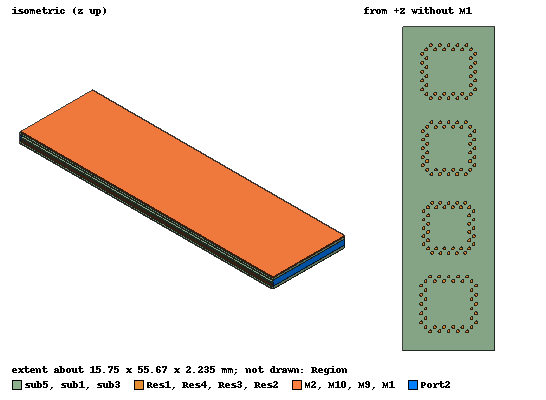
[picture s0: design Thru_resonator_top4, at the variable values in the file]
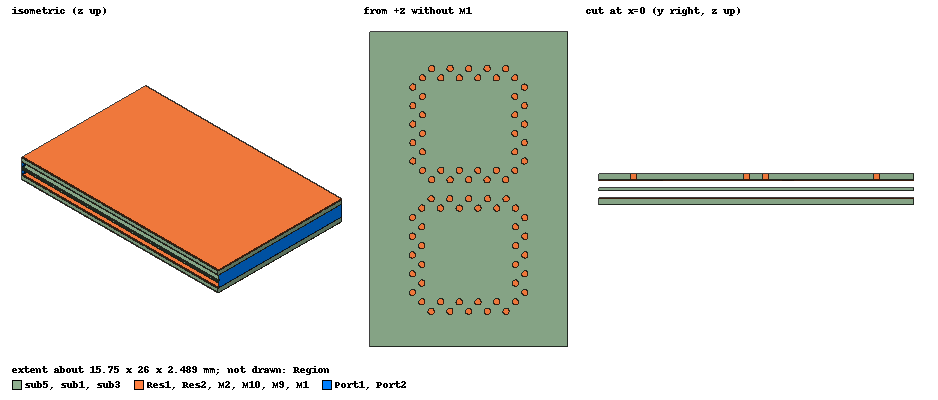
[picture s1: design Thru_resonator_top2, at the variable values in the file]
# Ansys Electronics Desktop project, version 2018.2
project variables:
  $mask = 0.8mil
  $sub5 = 20mil
  $gap = 0mm
  $sub1 = 20mil
  $sub3 = 10mil
  $width = $a*2 + $l + 2mm
  $a = 6mm
  $l = $stripline_w
  $stripline_w = 1.75mm
  $length = (95-0.6) mm
  $GCPW_w = 2.15mm
  $GCPW_l = 4.7mm
  $cavity_length = 80mm
  $cavity_width = 30mm
  $sub4 = 20mil
  $sub2 = 20mil
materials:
  Rogers RO3010 (tm): permittivity=10.2 dielectric_loss_tangent=0.0035
  Rogers RT/duroid 6002 (tm): permittivity=2.94 dielectric_loss_tangent=0.0012
  air: permittivity=1.0006 permeability=1.0000004
  copper: permeability=0.999991 conductivity=58000000
  vacuum: permittivity=1

design Thru_resonator_top4 (HFSS, DrivenModal, model units mm)
options: Calculate_Lossy_Dielectrics
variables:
  layer3_height = 4*$mask + $sub5 + sub4 + $gap*2
  length = (2.5 - 1 - .633) mm
  gap = 0.889mm
  w_2 = 0.61mm
  layer1_height = 8*$mask + $sub5 + sub4 + $sub3 + sub2 + $gap*4
  layer2_height = 6*$mask + $sub5 + sub4 + $sub3 + $gap*3
  layer4_height = 2*$mask + $sub5 + $gap
  height = $mask*10 + $sub1 + sub2 + $sub3 + sub4 + $sub5
  radius = 0.25mm
  via = 0.5mm
  radius_s = 0.1mm
  height_s = $mask*6 + $sub1 + sub2 + $sub3
  port_width = 14.6mm
  port_height = 6mm
  gap1 = 55mm
  wid = 6.875mm + via_r/2
  via_r = 0.25mm
  aper = 1mm
  sub1 = 20mil
  sub2 = 20mil
  sub4 = 10mil
  wid1 = 7.8mm  # optimise 3.795mm..11.385mm
  wid2 = 7mm
  spacing = 6.375mm
  wid3 = 7.275mm
  wid4 = 7.52mm  # optimise 3.705mm..11.115mm
  spacing2 = 5.52mm
  spacing3 = 5.6mm
  a = 4.6mm
  g = 0.2mm
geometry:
  sub3 [Rogers RT/duroid 6002 (tm)] = box(corner=(-$width/2, -$length/2, 5*$mask + $sub5 + sub4 + $gap*2), size=($width, $length, $sub3))
  Rectangle5 = rectangle(corner=(-$GCPW_w/2, -$length/2, layer3_height + $mask + $sub3), x_size=$GCPW_w, y_size=$GCPW_l - gap)
  Thru [copper] = Rectangle5.duplicate_around_axis(axis=Z, angle=180deg, total=2)
  Thru.thicken($mask)
  Polyline1 = polyline(z=layer3_height + $mask + $sub3, xy: ($GCPW_w/2, $length/2 - $GCPW_l + gap) (0.305mm, $length/2 - $GCPW_l -1 mm) (-0.305mm, $length/2 - $GCPW_l -1 mm) (-$GCPW_w/2, $length/2 - $GCPW_l + gap) ($GCPW_w/2, $length/2 - $GCPW_l + gap), closed, covered)
  Polyline1.thicken(-$mask)
  Rectangle8 = rectangle(corner=(-w_2/2, -$length/2 + $GCPW_l +1 mm, layer3_height+$mask+$sub3), x_size=w_2, y_size=length)
  Rectangle8_1 = Rectangle8.duplicate_around_axis(axis=Z, angle=180deg, total=2)
  Rectangle8_1.thicken($mask)
  Polyline2 = polyline(z=layer3_height + $mask + $sub3, xy: (0.305mm, $length/2 - $GCPW_l -1 mm - length) ($stripline_w/2, $cavity_length/2 - gap) (-$stripline_w/2, $cavity_length/2 - gap) (-0.305mm, $length/2 - $GCPW_l -1 mm - length) (0.305mm, $length/2 - $GCPW_l -1 mm - length), closed, covered)
  Polyline2.thicken(-$mask)
  Rectangle6 = rectangle(corner=(-$stripline_w/2, -$cavity_length/2 + gap, layer3_height + $mask + $sub3), x_size=$stripline_w, y_size=$cavity_length - 2*gap)
  Rectangle6.thicken($mask)
  Polyline3 = polyline(z=layer3_height + $mask + $sub3, xy: ($stripline_w/2, -$cavity_length/2 + gap) (0.305mm, -$length/2 + $GCPW_l +1 mm + length) (-0.305mm, -$length/2 + $GCPW_l +1 mm + length) (-$stripline_w/2, -$cavity_length/2 + gap) ($stripline_w/2, -$cavity_length/2 + gap), closed, covered)
  Polyline3.thicken(-$mask)
  Rectangle8.thicken($mask)
  Polyline4 = polyline(z=layer3_height + $mask + $sub3, xy: ($GCPW_w/2, -$length/2 + $GCPW_l - gap) (0.305mm, -$length/2 + $GCPW_l +1 mm) (-0.305mm, -$length/2 + $GCPW_l +1 mm) (-$GCPW_w/2, -$length/2 + $GCPW_l - gap) ($GCPW_w/2, -$length/2 + $GCPW_l - gap), closed, covered)
  [Polyline4, Rectangle5].thicken($mask)
  Thru.unite(Polyline1, Rectangle8_1, Polyline2, Rectangle6, Polyline3, Rectangle8, Polyline4, Rectangle5)
  M1 [copper] = box(corner=(-$width/2, -$length/2, 9*$mask + $sub5 + sub4 + $sub3 + sub2 + sub1 + $gap*4), size=($width, $length, $mask))
  sub1 [Rogers RO3010 (tm)] = box(corner=(-$width/2, -$length/2, 9*$mask + $sub5 + sub4 + $sub3 + sub2 + $gap*4), size=($width, $length, sub1))
  M2 [copper] = box(corner=(-$width/2, -$length/2, layer1_height), size=($width, $length, $mask))
  M9 [copper] = box(corner=(-$width/2, -$length/2, $mask + $sub5), size=($width, $length, $mask))
  sub5 [Rogers RT/duroid 6002 (tm)] = box(corner=(-$width/2, -$length/2, $mask), size=($width, $length, $sub5))
  M10 [copper] = box(corner=(-$width/2, -$length/2, 0mm), size=($width, $length, $mask))
  Cut1 = box(corner=(-$width/2, -gap1/2, 0mm), size=($width, -60mm, 6mm))
  Cut2 = Cut1.duplicate_around_axis(axis=Z, angle=180deg, total=2)
  Cut3 = box(corner=(-$cavity_width/2, -gap1/2, 0mm), size=(-10mm, gap1, 6mm))
  Cut4 = Cut3.duplicate_around_axis(axis=Z, angle=180deg, total=2)
  Cut1_1 = Cut1.copy()
  Cut2_1 = Cut2.copy()
  Cut3_1 = Cut3.copy()
  Cut4_1 = Cut4.copy()
  [Cut1..Cut4].delete()
  Port1 = rectangle(corner=(-$width/2, -gap1/2, $mask*2 + $sub5), z_size=sub2 + $sub3 + sub4 + $mask*6, x_size=$width)
  Port2 = Port1.duplicate_around_axis(axis=Z, angle=180deg, total=2)
  Region [air] = region(percentage_offset=0 on all sides)
  Cut1_1_1 = Cut1_1.copy()
  Cut2_1_1 = Cut2_1.copy()
  Cut3_1_1 = Cut3_1.copy()
  Cut4_1_1 = Cut4_1.copy()
  M1.subtract(Cut1_1_1, Cut2_1_1, Cut3_1_1, Cut4_1_1)
  Cut1_1_2 = Cut1_1.copy()
  Cut2_1_2 = Cut2_1.copy()
  Cut3_1_2 = Cut3_1.copy()
  Cut4_1_2 = Cut4_1.copy()
  M10.subtract(Cut1_1_2, Cut2_1_2, Cut3_1_2, Cut4_1_2)
  Cut1_1_3 = Cut1_1.copy()
  Cut2_1_3 = Cut2_1.copy()
  Cut3_1_3 = Cut3_1.copy()
  Cut4_1_3 = Cut4_1.copy()
  M2.subtract(Cut1_1_3, Cut2_1_3, Cut3_1_3, Cut4_1_3)
  Cut1_1_4 = Cut1_1.copy()
  Cut2_1_4 = Cut2_1.copy()
  Cut3_1_4 = Cut3_1.copy()
  Cut4_1_4 = Cut4_1.copy()
  M9.subtract(Cut1_1_4, Cut2_1_4, Cut3_1_4, Cut4_1_4)
  Cut1_1_5 = Cut1_1.copy()
  Cut2_1_5 = Cut2_1.copy()
  Cut3_1_5 = Cut3_1.copy()
  Cut4_1_5 = Cut4_1.copy()
  sub1.subtract(Cut1_1_5, Cut2_1_5, Cut3_1_5, Cut4_1_5)
  Cut1_1_6 = Cut1_1.copy()
  Cut2_1_6 = Cut2_1.copy()
  Cut3_1_6 = Cut3_1.copy()
  Cut4_1_6 = Cut4_1.copy()
  sub3.subtract(Cut1_1_6, Cut2_1_6, Cut3_1_6, Cut4_1_6)
  Cut1_1_7 = Cut1_1.copy()
  Cut2_1_7 = Cut2_1.copy()
  Cut3_1_7 = Cut3_1.copy()
  Cut4_1_7 = Cut4_1.copy()
  sub5.subtract(Cut1_1_7, Cut2_1_7, Cut3_1_7, Cut4_1_7)
  Cut1_1_8 = Cut1_1.copy()
  Cut1_1.delete()
  Cut2_1_8 = Cut2_1.copy()
  Cut2_1.delete()
  Cut3_1_8 = Cut3_1.copy()
  Cut3_1.delete()
  Cut4_1_8 = Cut4_1.copy()
  Cut4_1.delete()
  Thru.subtract(Cut1_1_8, Cut2_1_8, Cut3_1_8, Cut4_1_8)
  Res1 [copper] = cylinder(axis=Z, base_centre=(-wid1/2, -wid1 -wid2 -spacing/2 - spacing2, layer1_height + $mask), radius=via_r, height=$sub1)
  Cylinder1_1..Cylinder1_5 = Res1.duplicate_along_line(step=(0mm, wid1/5, 0mm), total=6)
  Cylinder1_6..Cylinder1_10 = Res1.duplicate_along_line(step=(wid1/5, 0mm, 0mm), total=6)
  Cylinder1_10_1..Cylinder1_10_5 = Cylinder1_10.duplicate_along_line(step=(0mm, wid1/5, 0mm), total=6)
  Cylinder1_5_1..Cylinder1_5_4 = Cylinder1_5.duplicate_along_line(step=(wid1/5, 0mm, 0mm), total=5)
  Cylinder1_11 = Res1.duplicate_along_line(step=(-3*via_r, wid1/10, 0mm), total=2)
  Cylinder1_12 = Res1.duplicate_along_line(step=(wid1/10, -3*via_r, 0mm), total=2)
  Cylinder1_10_5_1 = Cylinder1_10_5.duplicate_along_line(step=(-wid1/10, 3*via_r, 0mm), total=2)
  Cylinder1_10_5_2 = Cylinder1_10_5.duplicate_along_line(step=(3*via_r, - wid1/10, 0mm), total=2)
  Cylinder1_11_1..Cylinder1_11_4 = Cylinder1_11.duplicate_along_line(step=(0mm, wid1/5, 0mm), total=5)
  Cylinder1_12_1..Cylinder1_12_4 = Cylinder1_12.duplicate_along_line(step=(wid1/5, 0mm, 0mm), total=5)
  Cylinder1_10_5_2_1..Cylinder1_10_5_2_4 = Cylinder1_10_5_2.duplicate_along_line(step=(0mm, -wid1/5, 0mm), total=5)
  Cylinder1_10_5_1_1..Cylinder1_10_5_1_4 = Cylinder1_10_5_1.duplicate_along_line(step=(-wid1/5, 0mm, 0mm), total=5)
  Res2 [copper] = cylinder(axis=Z, base_centre=(-wid2/2, -wid2 - spacing/2, layer1_height + $mask), radius=via_r, height=$sub1)
  Cylinder2_1..Cylinder2_5 = Res2.duplicate_along_line(step=(0mm, wid2/5, 0mm), total=6)
  Cylinder2_6..Cylinder2_10 = Res2.duplicate_along_line(step=(wid2/5, 0mm, 0mm), total=6)
  Cylinder2_10_1..Cylinder2_10_5 = Cylinder2_10.duplicate_along_line(step=(0mm, wid2/5, 0mm), total=6)
  Cylinder2_5_1..Cylinder2_5_4 = Cylinder2_5.duplicate_along_line(step=(wid2/5, 0mm, 0mm), total=5)
  Cylinder2_11 = Res2.duplicate_along_line(step=(-3*via_r, wid2/10, 0mm), total=2)
  Cylinder2_12 = Res2.duplicate_along_line(step=(wid2/10, -3*via_r, 0mm), total=2)
  Res1.unite(Cylinder1_1..Cylinder1_5, Cylinder1_5_1..Cylinder1_5_4, Cylinder1_6..Cylinder1_10, Cylinder1_10_1..Cylinder1_10_5, Cylinder1_10_5_1, Cylinder1_10_5_1_1..Cylinder1_10_5_1_4, Cylinder1_10_5_2, Cylinder1_10_5_2_1..Cylinder1_10_5_2_4, Cylinder1_11, Cylinder1_11_1..Cylinder1_11_4, Cylinder1_12, Cylinder1_12_1..Cylinder1_12_4)
  Cylinder2_10_5_1 = Cylinder2_10_5.duplicate_along_line(step=(-wid2/10, 3*via_r, 0mm), total=2)
  Cylinder2_10_5_2 = Cylinder2_10_5.duplicate_along_line(step=(3*via_r, -wid2/10, 0mm), total=2)
  Cylinder2_11_1..Cylinder2_11_4 = Cylinder2_11.duplicate_along_line(step=(0mm, wid2/5, 0mm), total=5)
  Cylinder2_12_1..Cylinder2_12_4 = Cylinder2_12.duplicate_along_line(step=(wid2/5, 0mm, 0mm), total=5)
  Cylinder2_10_5_1_1..Cylinder2_10_5_1_4 = Cylinder2_10_5_1.duplicate_along_line(step=(-wid2/5, 0mm, 0mm), total=5)
  Cylinder2_10_5_2_1..Cylinder2_10_5_2_4 = Cylinder2_10_5_2.duplicate_along_line(step=(0mm, -wid2/5, 0mm), total=5)
  Res2.unite(Cylinder2_1..Cylinder2_5, Cylinder2_5_1..Cylinder2_5_4, Cylinder2_6..Cylinder2_10, Cylinder2_10_1..Cylinder2_10_5, Cylinder2_10_5_1, Cylinder2_10_5_1_1..Cylinder2_10_5_1_4, Cylinder2_10_5_2, Cylinder2_10_5_2_1..Cylinder2_10_5_2_4, Cylinder2_11, Cylinder2_11_1..Cylinder2_11_4, Cylinder2_12, Cylinder2_12_1..Cylinder2_12_4)
  Res3 [copper] = cylinder(axis=Z, base_centre=(-wid3/2, wid3 + spacing/2, layer1_height + $mask), radius=via_r, height=$sub1)
  Cylinder1_13..Cylinder1_17 = Res3.duplicate_along_line(step=(0mm, -wid3/5, 0mm), total=6)
  Cylinder1_18..Cylinder1_22 = Res3.duplicate_along_line(step=(wid3/5, 0mm, 0mm), total=6)
  Cylinder1_22_1..Cylinder1_22_5 = Cylinder1_22.duplicate_along_line(step=(0mm, -wid3/5, 0mm), total=6)
  Cylinder1_17_1..Cylinder1_17_4 = Cylinder1_17.duplicate_along_line(step=(wid3/5, 0mm, 0mm), total=5)
  Cylinder1_17_5 = Cylinder1_17.duplicate_along_line(step=(-3*via_r, wid3/10, 0mm), total=2)
  Cylinder1_17_6 = Cylinder1_17.duplicate_along_line(step=(wid3/10, -3*via_r, 0mm), total=2)
  Cylinder1_22_6 = Cylinder1_22.duplicate_along_line(step=(-wid3/10, 3*via_r, 0mm), total=2)
  Cylinder1_22_7 = Cylinder1_22.duplicate_along_line(step=(3*via_r, -wid3/10, 0mm), total=2)
  Cylinder1_17_5_1..Cylinder1_17_5_4 = Cylinder1_17_5.duplicate_along_line(step=(0mm, wid3/5, 0mm), total=5)
  Cylinder1_17_6_1..Cylinder1_17_6_4 = Cylinder1_17_6.duplicate_along_line(step=(wid3/5, 0mm, 0mm), total=5)
  Cylinder1_22_7_1..Cylinder1_22_7_4 = Cylinder1_22_7.duplicate_along_line(step=(0mm, -wid3/5, 0mm), total=5)
  Cylinder1_22_6_1..Cylinder1_22_6_4 = Cylinder1_22_6.duplicate_along_line(step=(-wid3/5, 0mm, 0mm), total=5)
  Res3.unite(Cylinder1_13..Cylinder1_17, Cylinder1_17_1..Cylinder1_17_5, Cylinder1_17_5_1..Cylinder1_17_5_4, Cylinder1_17_6, Cylinder1_17_6_1..Cylinder1_17_6_4, Cylinder1_18..Cylinder1_22, Cylinder1_22_1..Cylinder1_22_6, Cylinder1_22_6_1..Cylinder1_22_6_4, Cylinder1_22_7, Cylinder1_22_7_1..Cylinder1_22_7_4)
  Res4 [copper] = cylinder(axis=Z, base_centre=(-wid4/2, wid4 + wid3 + spacing/2 + spacing3, layer1_height + $mask), radius=via_r, height=$sub1)
  Cylinder1_23..Cylinder1_27 = Res4.duplicate_along_line(step=(0mm, -wid4/5, 0mm), total=6)
  Cylinder1_28..Cylinder1_32 = Res4.duplicate_along_line(step=(wid4/5, 0mm, 0mm), total=6)
  Cylinder1_27_1..Cylinder1_27_5 = Cylinder1_27.duplicate_along_line(step=(wid4/5, 0mm, 0mm), total=6)
  Cylinder1_27_5_1..Cylinder1_27_5_4 = Cylinder1_27_5.duplicate_along_line(step=(0mm, wid4/5, 0mm), total=5)
  Cylinder1_27_6 = Cylinder1_27.duplicate_along_line(step=(-3*via_r, wid4/10, 0mm), total=2)
  Cylinder1_27_7 = Cylinder1_27.duplicate_along_line(step=(wid4/10, -3*via_r, 0mm), total=2)
  Cylinder1_32_1 = Cylinder1_32.duplicate_along_line(step=(-wid4/10, 3*via_r, 0mm), total=2)
  Cylinder1_32_2 = Cylinder1_32.duplicate_along_line(step=(3*via_r, -wid4/10, 0mm), total=2)
  Cylinder1_27_6_1..Cylinder1_27_6_4 = Cylinder1_27_6.duplicate_along_line(step=(0mm, wid4/5, 0mm), total=5)
  Cylinder1_27_7_1..Cylinder1_27_7_4 = Cylinder1_27_7.duplicate_along_line(step=(wid4/5, 0mm, 0mm), total=5)
  Cylinder1_32_2_1..Cylinder1_32_2_4 = Cylinder1_32_2.duplicate_along_line(step=(0mm, -wid4/5, 0mm), total=5)
  Cylinder1_32_1_1..Cylinder1_32_1_4 = Cylinder1_32_1.duplicate_along_line(step=(-wid4/5, 0mm, 0mm), total=5)
  Res4.unite(Cylinder1_23..Cylinder1_27, Cylinder1_27_1..Cylinder1_27_5, Cylinder1_27_5_1..Cylinder1_27_5_4, Cylinder1_27_6, Cylinder1_27_6_1..Cylinder1_27_6_4, Cylinder1_27_7, Cylinder1_27_7_1..Cylinder1_27_7_4, Cylinder1_28..Cylinder1_32, Cylinder1_32_1, Cylinder1_32_1_1..Cylinder1_32_1_4, Cylinder1_32_2, Cylinder1_32_2_1..Cylinder1_32_2_4)
  Box1 = box(corner=(-(wid1-3*via_r)/2, -spacing/2 - spacing2 - wid2 -wid1 + 2*via_r, layer1_height), size=(wid1 - 3*via_r, aper, $mask))
  Box2 = box(corner=(-(wid2 - 3*via_r)/2, -spacing/2 -wid2 + 2*via_r, layer1_height), size=(wid2 - 3*via_r, aper, $mask))
  Box3 = box(corner=(-(wid3 - 3*via_r)/2, spacing/2 + wid3 - 2*via_r, layer1_height), size=(wid3 - 3*via_r, -aper, $mask))
  Box4 = box(corner=(-(wid4 - 3*via_r)/2, spacing/2 + spacing3+ wid3 + wid4 -  2*via_r, layer1_height), size=(wid4 -3*via_r, -aper, $mask))
  Box1_1 = Box1.copy()
  Box1.delete()
  Box2_1 = Box2.copy()
  Box2.delete()
  Box3_1 = Box3.copy()
  Box3.delete()
  Box4_1 = Box4.copy()
  Box4.delete()
  M2.subtract(Box1_1, Box2_1, Box3_1, Box4_1)
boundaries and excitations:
  1: Wave Port Objects=Port1 NumModes=1 Modes{Mode1{CharImp=Zpi}}
  2: Wave Port Objects=Port2 NumModes=1 Modes{Mode1{CharImp=Zpi}}
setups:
  Setup1: HfssDriven Frequency=9GHz MaxDeltaS=0.01 MaximumPasses=50 MinimumPasses=1 MinimumConvergedPasses=3 PercentRefinement=30 BasisOrder=1 PortAccuracy=2
    sweep Sweep: 7GHz to 9GHz step 0.0005GHz; Type=Interpolating InterpTolerance=0.5 InterpMaxSolns=250 InterpUsePortImped=false PassivityErrorTolerance=0.0001
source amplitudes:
  1:1: 1W 0deg
  2:1: 0W 0deg
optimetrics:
  OptimizationSetup1: Optimization Optimizer="Quasi Newton" AnalysisStopOptions{StopForNumIteration MaxNumIteration=1000 MinNumIteration=10} CostFuncNormType=L2 Acceptable_Cost=0 Noise=0.0001 UpdateDesignWhenDone
    vary wid1: Min=6.7mm Max=8.1mm MinStep=0.0759mm MaxStep=0.759mm MinFocus=3.795mm MaxFocus=11.385mm start=7.59mm
    vary wid2: Min=6.7mm Max=8.1mm MinStep=0.0727mm MaxStep=0.727mm MinFocus=3.635mm MaxFocus=10.905mm
    vary wid3: Min=6.7mm Max=8.1mm MinStep=0.0721mm MaxStep=0.721mm MinFocus=3.605mm MaxFocus=10.815mm
    vary wid4: Min=6.7mm Max=8.1mm MinStep=0.0741mm MaxStep=0.741mm MinFocus=3.705mm MaxFocus=11.115mm start=7.41mm
    goal dB(S(2,1)) <= -10 weight 1 on Setup1 : Sweep at Freq 7.8GHz to 8.2GHz
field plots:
  Mag_E1: E Field in sub1 on Setup1 : LastAdaptive at Freq=9GHz Phase=0deg
  Mag_E2: E Field over sub1.face(+z) on Setup1 : LastAdaptive at Freq=9GHz Phase=0deg
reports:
  S Parameter Plot 1: dB(S(1,1)), dB(S(2,1)) vs Freq on Setup1 : Sweep; markers m1 at 7.956GHz, m2 at 8.1255GHz, m3 at 7.7965GHz, m4 at 8.18GHz

design Thru_resonator_top2 (HFSS, DrivenModal, model units mm)
options: Calculate_Lossy_Dielectrics
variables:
  layer3_height = 4*$mask + $sub5 + $sub4 + $gap*2
  length = (2.5 - 1 - .633) mm
  gap = 0.889mm
  w_2 = 0.61mm
  layer1_height = 8*$mask + $sub5 + $sub4 + $sub3 + $sub2 + $gap*4
  layer2_height = 6*$mask + $sub5 + $sub4 + $sub3 + $gap*3
  layer4_height = 2*$mask + $sub5 + $gap
  height = $mask*10 + $sub1 + $sub2 + $sub3 + $sub4 + $sub5
  radius = 0.25mm
  via = 0.5mm
  radius_s = 0.1mm
  height_s = $mask*6 + $sub1 + $sub2 + $sub3
  port_width = 14.6mm
  port_height = 6mm
  gap1 = 25mm
  via_r = 0.25mm
  wid1 = 7.3mm+via_r/2
  spacing = 3mm
  wid2 = 7.2mm+via_r/2
  aper1 = 1mm
  aper2 = 1mm
  a = 4.6mm
  g = 0.2mm
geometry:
  sub3 [Rogers RT/duroid 6002 (tm)] = box(corner=(-$width/2, -$length/2, 5*$mask + $sub5 + $sub4 + $gap*2), size=($width, $length, $sub3))
  Rectangle5 = rectangle(corner=(-$GCPW_w/2, -$length/2, layer3_height + $mask + $sub3), x_size=$GCPW_w, y_size=$GCPW_l - gap)
  Thru [copper] = Rectangle5.duplicate_around_axis(axis=Z, angle=180deg, total=2)
  Thru.thicken($mask)
  Polyline1 = polyline(z=layer3_height + $mask + $sub3, xy: ($GCPW_w/2, $length/2 - $GCPW_l + gap) (0.305mm, $length/2 - $GCPW_l -1 mm) (-0.305mm, $length/2 - $GCPW_l -1 mm) (-$GCPW_w/2, $length/2 - $GCPW_l + gap) ($GCPW_w/2, $length/2 - $GCPW_l + gap), closed, covered)
  Polyline1.thicken(-$mask)
  Rectangle8 = rectangle(corner=(-w_2/2, -$length/2 + $GCPW_l +1 mm, layer3_height+$mask+$sub3), x_size=w_2, y_size=length)
  Rectangle8_1 = Rectangle8.duplicate_around_axis(axis=Z, angle=180deg, total=2)
  Rectangle8_1.thicken($mask)
  Polyline2 = polyline(z=layer3_height + $mask + $sub3, xy: (0.305mm, $length/2 - $GCPW_l -1 mm - length) ($stripline_w/2, $cavity_length/2 - gap) (-$stripline_w/2, $cavity_length/2 - gap) (-0.305mm, $length/2 - $GCPW_l -1 mm - length) (0.305mm, $length/2 - $GCPW_l -1 mm - length), closed, covered)
  Polyline2.thicken(-$mask)
  Rectangle6 = rectangle(corner=(-$stripline_w/2, -$cavity_length/2 + gap, layer3_height + $mask + $sub3), x_size=$stripline_w, y_size=$cavity_length - 2*gap)
  Rectangle6.thicken($mask)
  Polyline3 = polyline(z=layer3_height + $mask + $sub3, xy: ($stripline_w/2, -$cavity_length/2 + gap) (0.305mm, -$length/2 + $GCPW_l +1 mm + length) (-0.305mm, -$length/2 + $GCPW_l +1 mm + length) (-$stripline_w/2, -$cavity_length/2 + gap) ($stripline_w/2, -$cavity_length/2 + gap), closed, covered)
  Polyline3.thicken(-$mask)
  Rectangle8.thicken($mask)
  Polyline4 = polyline(z=layer3_height + $mask + $sub3, xy: ($GCPW_w/2, -$length/2 + $GCPW_l - gap) (0.305mm, -$length/2 + $GCPW_l +1 mm) (-0.305mm, -$length/2 + $GCPW_l +1 mm) (-$GCPW_w/2, -$length/2 + $GCPW_l - gap) ($GCPW_w/2, -$length/2 + $GCPW_l - gap), closed, covered)
  [Polyline4, Rectangle5].thicken($mask)
  Thru.unite(Polyline1, Rectangle8_1, Polyline2, Rectangle6, Polyline3, Rectangle8, Polyline4, Rectangle5)
  M1 [copper] = box(corner=(-$width/2, -$length/2, 9*$mask + $sub5 + $sub4 + $sub3 + $sub2 + $sub1 + $gap*4), size=($width, $length, $mask))
  sub1 [Rogers RO3010 (tm)] = box(corner=(-$width/2, -$length/2, 9*$mask + $sub5 + $sub4 + $sub3 + $sub2 + $gap*4), size=($width, $length, $sub1))
  M2 [copper] = box(corner=(-$width/2, -$length/2, layer1_height), size=($width, $length, $mask))
  M9 [copper] = box(corner=(-$width/2, -$length/2, $mask + $sub5), size=($width, $length, $mask))
  sub5 [Rogers RT/duroid 6002 (tm)] = box(corner=(-$width/2, -$length/2, $mask), size=($width, $length, $sub5))
  M10 [copper] = box(corner=(-$width/2, -$length/2, 0mm), size=($width, $length, $mask))
  Cut1 = box(corner=(-$width/2, -gap1/2, 0mm), size=($width, -60mm, 6mm))
  Cut2 = Cut1.duplicate_around_axis(axis=Z, angle=180deg, total=2)
  Cut3 = box(corner=(-$cavity_width/2, -gap1/2, 0mm), size=(-10mm, gap1, 6mm))
  Cut4 = Cut3.duplicate_around_axis(axis=Z, angle=180deg, total=2)
  Cut1_1 = Cut1.copy()
  Cut2_1 = Cut2.copy()
  Cut3_1 = Cut3.copy()
  Cut4_1 = Cut4.copy()
  [Cut1..Cut4].delete()
  Port1 = rectangle(corner=(-$width/2, -gap1/2, $mask*2 + $sub1), z_size=$sub2 + $sub3 + $sub4 + $mask*6, x_size=$width)
  Port2 = Port1.duplicate_around_axis(axis=Z, angle=180deg, total=2)
  Region [air] = region(percentage_offset=0 on all sides)
  Cut1_1_1 = Cut1_1.copy()
  Cut2_1_1 = Cut2_1.copy()
  Cut3_1_1 = Cut3_1.copy()
  Cut4_1_1 = Cut4_1.copy()
  M1.subtract(Cut1_1_1, Cut2_1_1, Cut3_1_1, Cut4_1_1)
  Cut1_1_2 = Cut1_1.copy()
  Cut2_1_2 = Cut2_1.copy()
  Cut3_1_2 = Cut3_1.copy()
  Cut4_1_2 = Cut4_1.copy()
  M10.subtract(Cut1_1_2, Cut2_1_2, Cut3_1_2, Cut4_1_2)
  Cut1_1_3 = Cut1_1.copy()
  Cut2_1_3 = Cut2_1.copy()
  Cut3_1_3 = Cut3_1.copy()
  Cut4_1_3 = Cut4_1.copy()
  M2.subtract(Cut1_1_3, Cut2_1_3, Cut3_1_3, Cut4_1_3)
  Cut1_1_4 = Cut1_1.copy()
  Cut2_1_4 = Cut2_1.copy()
  Cut3_1_4 = Cut3_1.copy()
  Cut4_1_4 = Cut4_1.copy()
  M9.subtract(Cut1_1_4, Cut2_1_4, Cut3_1_4, Cut4_1_4)
  Cut1_1_5 = Cut1_1.copy()
  Cut2_1_5 = Cut2_1.copy()
  Cut3_1_5 = Cut3_1.copy()
  Cut4_1_5 = Cut4_1.copy()
  sub1.subtract(Cut1_1_5, Cut2_1_5, Cut3_1_5, Cut4_1_5)
  Cut1_1_6 = Cut1_1.copy()
  Cut2_1_6 = Cut2_1.copy()
  Cut3_1_6 = Cut3_1.copy()
  Cut4_1_6 = Cut4_1.copy()
  sub3.subtract(Cut1_1_6, Cut2_1_6, Cut3_1_6, Cut4_1_6)
  Cut1_1_7 = Cut1_1.copy()
  Cut2_1_7 = Cut2_1.copy()
  Cut3_1_7 = Cut3_1.copy()
  Cut4_1_7 = Cut4_1.copy()
  sub5.subtract(Cut1_1_7, Cut2_1_7, Cut3_1_7, Cut4_1_7)
  Cut1_1_8 = Cut1_1.copy()
  Cut1_1.delete()
  Cut2_1_8 = Cut2_1.copy()
  Cut2_1.delete()
  Cut3_1_8 = Cut3_1.copy()
  Cut3_1.delete()
  Cut4_1_8 = Cut4_1.copy()
  Cut4_1.delete()
  Thru.subtract(Cut1_1_8, Cut2_1_8, Cut3_1_8, Cut4_1_8)
  Res1 [copper] = cylinder(axis=Z, base_centre=(-wid1/2, -wid1 -spacing/2, layer1_height + $mask), radius=via_r, height=$sub1)
  Cylinder5_1..Cylinder5_5 = Res1.duplicate_along_line(step=(0mm, wid1/5, 0mm), total=6)
  Cylinder5_6..Cylinder5_10 = Res1.duplicate_along_line(step=(wid1/5, 0mm, 0mm), total=6)
  Cylinder5_10_1..Cylinder5_10_5 = Cylinder5_10.duplicate_along_line(step=(0mm, wid1/5, 0mm), total=6)
  Cylinder5_5_1..Cylinder5_5_4 = Cylinder5_5.duplicate_along_line(step=(wid1/5, 0mm, 0mm), total=5)
  Cylinder5_11 = Res1.duplicate_along_line(step=(wid1/10, -3*via_r, 0mm), total=2)
  Cylinder5_12 = Res1.duplicate_along_line(step=(-3*via_r, wid1/10, 0mm), total=2)
  Cylinder5_10_5_1 = Cylinder5_10_5.duplicate_along_line(step=(3*via_r, -wid1/10, 0mm), total=2)
  Cylinder5_10_5_2 = Cylinder5_10_5.duplicate_along_line(step=(-wid1/10, 3*via_r, 0mm), total=2)
  Cylinder5_12_1..Cylinder5_12_4 = Cylinder5_12.duplicate_along_line(step=(0mm, wid1/5, 0mm), total=5)
  Cylinder5_11_1..Cylinder5_11_4 = Cylinder5_11.duplicate_along_line(step=(wid1/5, 0mm, 0mm), total=5)
  Cylinder5_10_5_1_1..Cylinder5_10_5_1_4 = Cylinder5_10_5_1.duplicate_along_line(step=(0mm, -wid1/5, 0mm), total=5)
  Cylinder5_10_5_2_1..Cylinder5_10_5_2_4 = Cylinder5_10_5_2.duplicate_along_line(step=(-wid1/5, 0mm, 0mm), total=5)
  Res2 [copper] = cylinder(axis=Z, base_centre=(wid2/2, wid2 + spacing/2, layer1_height + $mask), radius=via_r, height=$sub1)
  Res1.unite(Cylinder5_1..Cylinder5_5, Cylinder5_5_1..Cylinder5_5_4, Cylinder5_6..Cylinder5_10, Cylinder5_10_1..Cylinder5_10_5, Cylinder5_10_5_1, Cylinder5_10_5_1_1..Cylinder5_10_5_1_4, Cylinder5_10_5_2, Cylinder5_10_5_2_1..Cylinder5_10_5_2_4, Cylinder5_11, Cylinder5_11_1..Cylinder5_11_4, Cylinder5_12, Cylinder5_12_1..Cylinder5_12_4)
  Cylinder6_1..Cylinder6_5 = Res2.duplicate_along_line(step=(0mm, -wid2/5, 0mm), total=6)
  Cylinder6_6..Cylinder6_10 = Res2.duplicate_along_line(step=(-wid2/5, 0mm, 0mm), total=6)
  Cylinder6_10_1..Cylinder6_10_5 = Cylinder6_10.duplicate_along_line(step=(0mm, -wid2/5, 0mm), total=6)
  Cylinder6_10_5_1..Cylinder6_10_5_4 = Cylinder6_10_5.duplicate_along_line(step=(wid2/5, 0mm, 0mm), total=5)
  Cylinder6_10_5_5 = Cylinder6_10_5.duplicate_along_line(step=(-3*via_r, wid2/10, 0mm), total=2)
  Cylinder6_10_5_6 = Cylinder6_10_5.duplicate_along_line(step=(wid2/10, -3*via_r, 0mm), total=2)
  Cylinder6_11 = Res2.duplicate_along_line(step=(-wid2/10, 3*via_r, 0mm), total=2)
  Cylinder6_12 = Res2.duplicate_along_line(step=(3*via_r, -wid2/10, 0mm), total=2)
  Cylinder6_10_5_6_1..Cylinder6_10_5_6_4 = Cylinder6_10_5_6.duplicate_along_line(step=(wid2/5, 0mm, 0mm), total=5)
  Cylinder6_10_5_5_1..Cylinder6_10_5_5_4 = Cylinder6_10_5_5.duplicate_along_line(step=(0mm, wid2/5, 0mm), total=5)
  Cylinder6_11_1..Cylinder6_11_4 = Cylinder6_11.duplicate_along_line(step=(-wid2/5, 0mm, 0mm), total=5)
  Cylinder6_12_1..Cylinder6_12_4 = Cylinder6_12.duplicate_along_line(step=(0mm, -wid2/5, 0mm), total=5)
  Res2.unite(Cylinder6_1..Cylinder6_10, Cylinder6_10_1..Cylinder6_10_5, Cylinder6_10_5_1..Cylinder6_10_5_5, Cylinder6_10_5_5_1..Cylinder6_10_5_5_4, Cylinder6_10_5_6, Cylinder6_10_5_6_1..Cylinder6_10_5_6_4, Cylinder6_11, Cylinder6_11_1..Cylinder6_11_4, Cylinder6_12, Cylinder6_12_1..Cylinder6_12_4)
  Res1_1 = Res1.copy()
  Res2_1 = Res2.copy()
  sub1.subtract(Res1_1, Res2_1)
  Aper1 = box(corner=(-(wid1 - 3*via_r)/2, -wid1 + 2*via_r -spacing/2, layer1_height), size=(wid1 - 3*via_r, aper1, $mask))
  Aper2 = box(corner=(-(wid2 - 3*via_r)/2, spacing/2 +2*via_r, layer1_height), size=(wid2 - 3*via_r, aper2, $mask))
  Aper1_1 = Aper1.copy()
  Aper1.delete()
  Aper2_1 = Aper2.copy()
  Aper2.delete()
  M2.subtract(Aper1_1, Aper2_1)
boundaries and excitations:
  1: Wave Port Objects=Port1 NumModes=1 Modes{Mode1{CharImp=Zpi}}
  2: Wave Port Objects=Port2 NumModes=1 Modes{Mode1{CharImp=Zpi}}
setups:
  Setup1: HfssDriven Frequency=8GHz MaxDeltaS=0.01 MaximumPasses=50 MinimumPasses=1 MinimumConvergedPasses=3 PercentRefinement=30 BasisOrder=1 PortAccuracy=2
    sweep Sweep: 7GHz to 9GHz step 0.01GHz; Type=Interpolating InterpTolerance=0.5 InterpMaxSolns=250 InterpUsePortImped=false PassivityErrorTolerance=0.0001
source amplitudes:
  1:1: 1W 0deg
  2:1: 0W 0deg
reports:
  S Parameter Plot 1: dB(S(1,1)), dB(S(2,1)) vs Freq on Setup1 : Sweep
